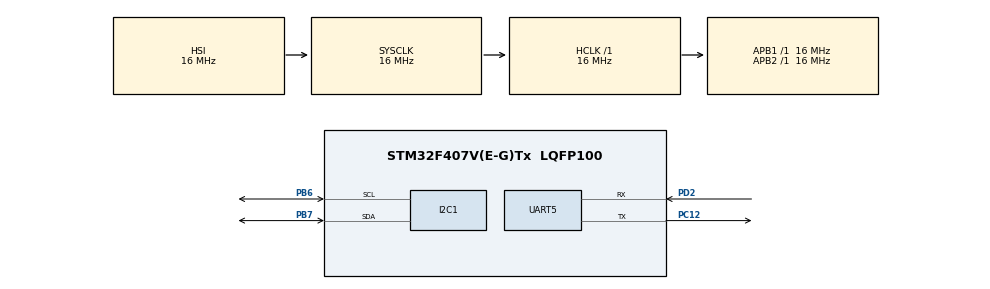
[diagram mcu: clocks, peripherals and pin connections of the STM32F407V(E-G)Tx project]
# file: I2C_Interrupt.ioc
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Mcu.Family=STM32F4
Mcu.Name=STM32F407V(E-G)Tx
Mcu.Package=LQFP100
NVIC.I2C1_ER_IRQn=true\:0\:0\:false\:false\:true\:true\:true\:true
NVIC.I2C1_EV_IRQn=true\:0\:0\:false\:false\:true\:true\:true\:true
NVIC.PriorityGroup=NVIC_PRIORITYGROUP_4
PA13.Mode=Serial_Wire
PA13.Signal=SYS_JTMS-SWDIO
PA14.Mode=Serial_Wire
PA14.Signal=SYS_JTCK-SWCLK
PB6.Mode=I2C
PB6.Signal=I2C1_SCL
PB7.Mode=I2C
PB7.Signal=I2C1_SDA
PC12.Mode=Asynchronous
PC12.Signal=UART5_TX
PD2.Mode=Asynchronous
PD2.Signal=UART5_RX
ProjectManager.HeapSize=0x200
ProjectManager.StackSize=0x400
ProjectManager.TargetToolchain=MDK-ARM V5.32
RCC.AHBFreq_Value=16000000
RCC.APB1Freq_Value=16000000
RCC.APB2Freq_Value=16000000
RCC.CortexFreq_Value=16000000
RCC.HSE_VALUE=25000000
RCC.HSI_VALUE=16000000
RCC.LSE_VALUE=32768
RCC.SYSCLKFreq_VALUE=16000000
RCC.VCOOutputFreq_Value=192000000
UART5.VirtualMode=Asynchronous
board=custom

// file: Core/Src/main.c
/* USER CODE BEGIN Header */
/**
  ******************************************************************************
  * @file           : main.c
  * @brief          : Main program body
  ******************************************************************************
  * @attention
  *
  * Copyright (c) 2026 STMicroelectronics.
  * All rights reserved.
  *
  * This software is licensed under terms that can be found in the LICENSE file
  * in the root directory of this software component.
  * If no LICENSE file comes with this software, it is provided AS-IS.
  *
  ******************************************************************************
  */
/* USER CODE END Header */
#include "main.h"

/* USER CODE BEGIN Includes */
#include <stdio.h>
#include <string.h>
/* USER CODE END Includes */

/* USER CODE BEGIN PD */

#define MPU6500_ADDRESS     (0x68 << 1)
#define WHO_AM_I_MPU6500    0x75
#define PWR_MGMT_1          0x6B
#define ACCEL_XOUT_H        0x3B

/* USER CODE END PD */

I2C_HandleTypeDef hi2c1;

UART_HandleTypeDef huart5;

/* USER CODE BEGIN PV */

uint8_t readData = 0;
uint8_t writeData = 0;
uint8_t accelData[6] = {0};

int16_t accelX = 0;
int16_t accelY = 0;
int16_t accelZ = 0;

char msg[128];

volatile uint8_t accelReady = 0;
volatile uint8_t i2cError = 0;

/* USER CODE END PV */

void SystemClock_Config(void);
static void MX_GPIO_Init(void);
static void MX_I2C1_Init(void);
static void MX_UART5_Init(void);

/* USER CODE BEGIN 0 */

static void UART_Print(char *str)
{
    HAL_UART_Transmit(&huart5, (uint8_t *)str, strlen(str), 100);
}

static void Start_Accel_Read_IT(void)
{
    HAL_StatusTypeDef ret;

    ret = HAL_I2C_Mem_Read_IT(&hi2c1,
                              MPU6500_ADDRESS,
                              ACCEL_XOUT_H,
                              I2C_MEMADD_SIZE_8BIT,
                              accelData,
                              6);

    if (ret == HAL_OK)
    {
        UART_Print("Start I2C interrupt read success.\r\n");
    }

    if (ret != HAL_OK)
    {
        UART_Print("Start I2C interrupt read failed.\r\n");
    }
}

void HAL_I2C_MemRxCpltCallback(I2C_HandleTypeDef *hi2c)
{
    if (hi2c->Instance == I2C1)
    {
        accelReady = 1;
    }
}

void HAL_I2C_ErrorCallback(I2C_HandleTypeDef *hi2c)
{
    if (hi2c->Instance == I2C1)
    {
        i2cError = 1;
    }
}

/* USER CODE END 0 */

int main(void)
{

  /* MCU Configuration--------------------------------------------------------*/

  /* Reset of all peripherals, Initializes the Flash interface and the Systick. */
  HAL_Init();

  /* Configure the system clock */
  SystemClock_Config();

  /* Initialize all configured peripherals */
  MX_GPIO_Init();
  MX_I2C1_Init();
  MX_UART5_Init();
  /* USER CODE BEGIN 2 */

	UART_Print("I2C Interrupt Demo Start\r\n\r\n");

	/* Step 1: Read WHO_AM_I using polling */
	if (HAL_I2C_Mem_Read(&hi2c1,
											 MPU6500_ADDRESS,
											 WHO_AM_I_MPU6500,
											 I2C_MEMADD_SIZE_8BIT,
											 &readData,
											 1,
											 100) == HAL_OK)
	{
			snprintf(msg, sizeof(msg), "WHO_AM_I = 0x%02X\r\n", readData);
			UART_Print(msg);

			if (readData == 0x70)
			{
					UART_Print("MPU6500 detected.\r\n");
			}
			else
			{
					UART_Print("MPU6500 not detected.\r\n");
			}
	}
	else
	{
			UART_Print("Read WHO_AM_I failed.\r\n");
	}

	/* Step 2: Write PWR_MGMT_1 using polling */
	writeData = 0x00;

	if (HAL_I2C_Mem_Write(&hi2c1,
												MPU6500_ADDRESS,
												PWR_MGMT_1,
												I2C_MEMADD_SIZE_8BIT,
												&writeData,
												1,
												100) == HAL_OK)
	{
			UART_Print("PWR_MGMT_1 write done.\r\n");
	}
	else
	{
			UART_Print("PWR_MGMT_1 write failed.\r\n");
	}

	/* Read back PWR_MGMT_1 using polling */
	readData = 0;

	if (HAL_I2C_Mem_Read(&hi2c1,
											 MPU6500_ADDRESS,
											 PWR_MGMT_1,
											 I2C_MEMADD_SIZE_8BIT,
											 &readData,
											 1,
											 100) == HAL_OK)
	{
			snprintf(msg, sizeof(msg), "PWR_MGMT_1 = 0x%02X\r\n\r\n", readData);
			UART_Print(msg);
	}
	else
	{
			UART_Print("Read PWR_MGMT_1 failed.\r\n");
	}

	/* Step 3: Start first acceleration read using interrupt */
	Start_Accel_Read_IT();

  /* USER CODE END 2 */

  /* Infinite loop */
  while (1)
  {

    /* USER CODE BEGIN 3 */
    if (accelReady)
    {
        accelReady = 0;

        accelX = (int16_t)(((uint16_t)accelData[0] << 8) | accelData[1]);
        accelY = (int16_t)(((uint16_t)accelData[2] << 8) | accelData[3]);
        accelZ = (int16_t)(((uint16_t)accelData[4] << 8) | accelData[5]);

        snprintf(msg, sizeof(msg),
                 "ACCEL_X = %d, ACCEL_Y = %d, ACCEL_Z = %d\r\n",
                 accelX, accelY, accelZ);

        UART_Print(msg);

        HAL_Delay(500);

        Start_Accel_Read_IT();
    }

    if (i2cError)
    {
        i2cError = 0;

        UART_Print("I2C error occurred.\r\n");

        HAL_Delay(1000);

        Start_Accel_Read_IT();
    }
  }
  /* USER CODE END 3 */
}

void SystemClock_Config(void)
{
  RCC_OscInitTypeDef RCC_OscInitStruct = {0};
  RCC_ClkInitTypeDef RCC_ClkInitStruct = {0};

  /** Configure the main internal regulator output voltage
  */
  __HAL_RCC_PWR_CLK_ENABLE();
  __HAL_PWR_VOLTAGESCALING_CONFIG(PWR_REGULATOR_VOLTAGE_SCALE1);

  /** Initializes the RCC Oscillators according to the specified parameters
  * in the RCC_OscInitTypeDef structure.
  */
  RCC_OscInitStruct.OscillatorType = RCC_OSCILLATORTYPE_HSI;
  RCC_OscInitStruct.HSIState = RCC_HSI_ON;
  RCC_OscInitStruct.HSICalibrationValue = RCC_HSICALIBRATION_DEFAULT;
  RCC_OscInitStruct.PLL.PLLState = RCC_PLL_NONE;
  if (HAL_RCC_OscConfig(&RCC_OscInitStruct) != HAL_OK)
  {
    Error_Handler();
  }

  /** Initializes the CPU, AHB and APB buses clocks
  */
  RCC_ClkInitStruct.ClockType = RCC_CLOCKTYPE_HCLK|RCC_CLOCKTYPE_SYSCLK
                              |RCC_CLOCKTYPE_PCLK1|RCC_CLOCKTYPE_PCLK2;
  RCC_ClkInitStruct.SYSCLKSource = RCC_SYSCLKSOURCE_HSI;
  RCC_ClkInitStruct.AHBCLKDivider = RCC_SYSCLK_DIV1;
  RCC_ClkInitStruct.APB1CLKDivider = RCC_HCLK_DIV1;
  RCC_ClkInitStruct.APB2CLKDivider = RCC_HCLK_DIV1;

  if (HAL_RCC_ClockConfig(&RCC_ClkInitStruct, FLASH_LATENCY_0) != HAL_OK)
  {
    Error_Handler();
  }
}

static void MX_I2C1_Init(void)
{

  hi2c1.Instance = I2C1;
  hi2c1.Init.ClockSpeed = 100000;
  hi2c1.Init.DutyCycle = I2C_DUTYCYCLE_2;
  hi2c1.Init.OwnAddress1 = 0;
  hi2c1.Init.AddressingMode = I2C_ADDRESSINGMODE_7BIT;
  hi2c1.Init.DualAddressMode = I2C_DUALADDRESS_DISABLE;
  hi2c1.Init.OwnAddress2 = 0;
  hi2c1.Init.GeneralCallMode = I2C_GENERALCALL_DISABLE;
  hi2c1.Init.NoStretchMode = I2C_NOSTRETCH_DISABLE;
  if (HAL_I2C_Init(&hi2c1) != HAL_OK)
  {
    Error_Handler();
  }

}

static void MX_UART5_Init(void)
{

  huart5.Instance = UART5;
  huart5.Init.BaudRate = 115200;
  huart5.Init.WordLength = UART_WORDLENGTH_8B;
  huart5.Init.StopBits = UART_STOPBITS_1;
  huart5.Init.Parity = UART_PARITY_NONE;
  huart5.Init.Mode = UART_MODE_TX_RX;
  huart5.Init.HwFlowCtl = UART_HWCONTROL_NONE;
  huart5.Init.OverSampling = UART_OVERSAMPLING_16;
  if (HAL_UART_Init(&huart5) != HAL_OK)
  {
    Error_Handler();
  }

}

static void MX_GPIO_Init(void)
{

  /* GPIO Ports Clock Enable */
  __HAL_RCC_GPIOA_CLK_ENABLE();
  __HAL_RCC_GPIOC_CLK_ENABLE();
  __HAL_RCC_GPIOD_CLK_ENABLE();
  __HAL_RCC_GPIOB_CLK_ENABLE();

}

void Error_Handler(void)
{
  __disable_irq();
  while (1)
  {
  }
}
